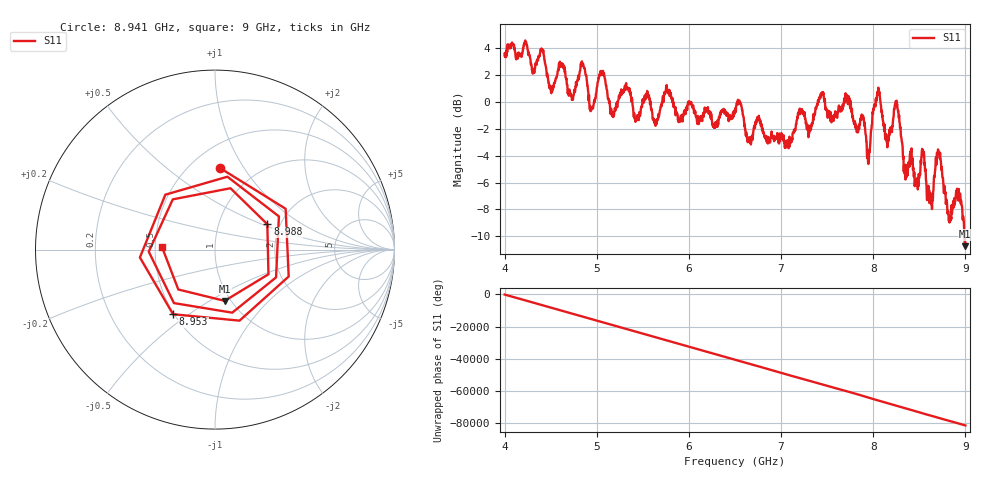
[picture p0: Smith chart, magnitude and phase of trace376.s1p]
! Created with skrf 1.8.0 (http://scikit-rf.org).
# Hz S RI R 50.0
!freq ReS11 ImS11
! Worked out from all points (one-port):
!   1601 points, 4 GHz to 9 GHz, reference 50 ohm
!   lowest |S11| = -10.7 dB at 8.994 GHz (marker M1), VSWR 1.82, Z = 46.9 - j29.2 ohm
!   |S11| at or under -10 dB: 8.991908 GHz to end of sweep
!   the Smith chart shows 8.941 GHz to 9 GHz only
!   S11 on the Smith chart (normalised r, x): 8.941 GHz: 0.68, +0.79; 8.953 GHz: 0.49, -0.44; 8.988 GHz: 1.71, +0.54; 9 GHz: 0.54, +0.01
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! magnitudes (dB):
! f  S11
! 4 GHz  3.6
! 4.403 GHz  3.9
! 4.506 GHz  0.6
! 4.625 GHz  2.9
! 4.731 GHz  0.2
! 4.85 GHz  2.8
! 4.944 GHz  -0.6
! 5.05 GHz  2.1
! 5.169 GHz  -0.8
! 5.25 GHz  0.6
! 5.875 GHz  -0.9
! 6.5 GHz  -0.7
! 7.125 GHz  -2.3
! 7.75 GHz  -0.5
! 7.947 GHz  -4.6
! 8.044 GHz  0.7
! 8.153 GHz  -3.4
! 8.25 GHz  -0.1
! 8.375 GHz  -5.1
! 8.541 GHz  -4.0
! 8.628 GHz  -7.5
! 8.706 GHz  -3.6
! 8.822 GHz  -8.9
! 8.941 GHz  -6.8
! 8.953 GHz  -7.3
! 8.988 GHz  -9.8
! 8.994 GHz  -10.7
! 9 GHz  -10.6
